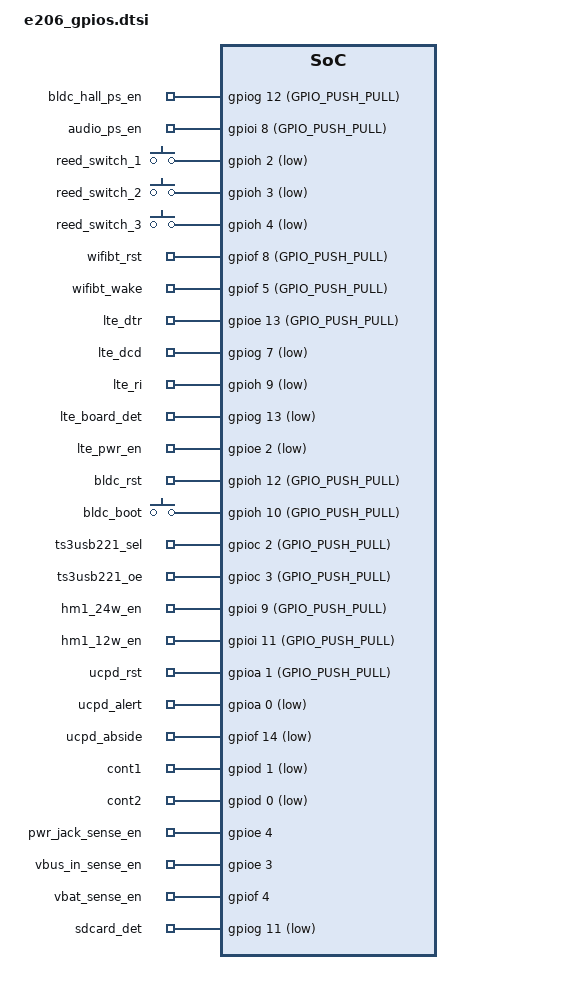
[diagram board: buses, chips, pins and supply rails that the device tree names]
/*
 * Copyright (c) 2022 Acme CPU
 * 
 * GPIO device list
 * 	- keypad
 * 	- load switch enable (may consier to remove dedicated tps22810 driver)
 *  - audio ps enable
 * 	- reed switches
 * 	- network processor (esp32) reset and wakeup
 *  - bldc driver reset and boot
 *  - tcpp fault
 *  - usb mux (TS3USB221ERSER)
 */
 
 / {
 	aux_enable {
		compatible = "gpio-keys";
		
	    bldc_hall_ps_en: bldc_hall_ps_en {
	      gpios = <&gpiog 12 (GPIO_PUSH_PULL)>;
	    };

	    audio_ps_en: audio_ps_en {
	      gpios = <&gpioi 8 (GPIO_PUSH_PULL)>;
	    };
	};
 
	reed_switches {
		compatible = "gpio-keys";

	    reed_switch_1: reed_switch_1 {
	      gpios = <&gpioh 2 (GPIO_PULL_UP | GPIO_ACTIVE_LOW)>;
	    };
	    
	    reed_switch_2: reed_switch_2 {
	      gpios = <&gpioh 3 (GPIO_PULL_UP | GPIO_ACTIVE_LOW)>;
	    };

	    reed_switch_3: reed_switch_3 {
	      gpios = <&gpioh 4 (GPIO_PULL_UP | GPIO_ACTIVE_LOW)>;
	    };
	};
	
	net_proc_gpios {
		compatible = "gpio-keys";
		
	    wifibt_rst: wifibt_rst {
	      gpios = <&gpiof 8 (GPIO_PUSH_PULL)>;
	      /*label = "ESP32_RST";*/
	    };
	    
	    wifibt_wake: wifibt_wake {
	      gpios = <&gpiof 5 (GPIO_PUSH_PULL)>;
	      /*label = "ESP32_WU";*/
	    };
	};
	
	lte_gpios {
		compatible = "gpio-keys";
	
	    lte_dtr: lte_dtr {
	      gpios = <&gpioe 13 (GPIO_PUSH_PULL)>;
	      /*label = "LTE_DTR";*/
	    };
	    
	    lte_dcd: lte_dcd {
	      gpios = <&gpiog 7 (GPIO_PULL_UP | GPIO_ACTIVE_LOW)>;
	      /*label = "LTE_DCD";*/
	    };
	    
	    lte_ri: lte_ri {
	      gpios = <&gpioh 9 (GPIO_PULL_UP | GPIO_ACTIVE_LOW)>;
	      /*label = "LTE_RI";*/
	    };

	    lte_board_det: lte_board_det {
	      gpios = <&gpiog 13 (GPIO_PULL_UP | GPIO_ACTIVE_LOW)>;
	      /*label = "LTE_BOARD_DET";*/
	    };

	    lte_pwr_en: lte_pwr_en {
	      gpios = <&gpioe 2 (GPIO_PULL_UP | GPIO_ACTIVE_LOW)>;
	      /*label = "LTE_PWR_EN";*/
	    };
	};
	
	bldc_drv_gpios {
		compatible = "gpio-keys";
		
	    bldc_rst: bldc_rst {
	      gpios = <&gpioh 12 (GPIO_PUSH_PULL)>;
	      /*label = "BLDC_RST";*/
	    };
	    
	    bldc_boot: bldc_boot {
	      gpios = <&gpioh 10 (GPIO_PUSH_PULL)>;
	      /*label = "BLDC_BOOT";*/
	    };
	};

	i2c_switch_gpios {
		compatible = "gpio-keys";

	    ts3usb221_sel: ts3usb221_sel {
	      gpios = <&gpioc 2 (GPIO_PUSH_PULL)>;
	      /*label = "TS3USB221_SEL";*/
	    };

	    ts3usb221_oe: ts3usb221_oe {
	      gpios = <&gpioc 3 (GPIO_PUSH_PULL)>;
	      /*label = "TS3USB221_OE";*/
	    };
	};
	
	heating_module_gpios {
		compatible = "gpio-keys";
		
	    hm1_24w_en: hm1_24w_en {
	      gpios = <&gpioi 9 (GPIO_PUSH_PULL)>;
	    };

	    hm1_12w_en: hm1_12w_en {
	      gpios = <&gpioi 11 (GPIO_PUSH_PULL)>;
	    };		
	};
	
	ucpd_ctrl_gpios {	/* use if i2c driver is not available */
		compatible = "gpio-keys";
		
	    ucpd_rst: ucpd_rst {
	      gpios = <&gpioa 1 (GPIO_PUSH_PULL)>;
	    };

	    ucpd_alert: ucpd_alert {
	      gpios = <&gpioa 0 (GPIO_PULL_UP | GPIO_ACTIVE_LOW)>;
	    };		

	    ucpd_abside: ucpd_abside {
	      gpios = <&gpiof 14 (GPIO_PULL_UP | GPIO_ACTIVE_LOW)>;
	    };		
	};

	other_gpios {
		compatible = "gpio-keys";

	    cont1: cont1 {
	      gpios = <&gpiod 1 (GPIO_PULL_UP | GPIO_ACTIVE_LOW)>;
	      /*label = "CONT_1";*/
	    };
	    
	    cont2: cont2 {
	      gpios = <&gpiod 0 (GPIO_PULL_UP | GPIO_ACTIVE_LOW)>;
	      /*label = "CONT_2";*/
	    };

	    pwr_jack_sense_en: pwr_jack_sense_en {
	      gpios = <&gpioe 4 GPIO_ACTIVE_HIGH>;
	      /*label = "PWR_JACK_SENSE_EN";*/
	    };
	    
	    vbus_in_sense_en: vbus_in_sense_en {
	      gpios = <&gpioe 3 GPIO_ACTIVE_HIGH>;
	      /*label = "VBUS_IN_SENSE_EN";*/
	    };

	    vbat_sense_en: vbat_sense_en {
	      gpios = <&gpiof 4 GPIO_ACTIVE_HIGH>;
	      /*label = "VBAT_SENSE_EN";*/
	    };

	    sdcard_det: sdcard_det {
	      gpios = <&gpiog 11 (GPIO_PULL_UP | GPIO_ACTIVE_LOW)>;
	      /*label = "SDCARD_DET";*/
	    };
	};
};



